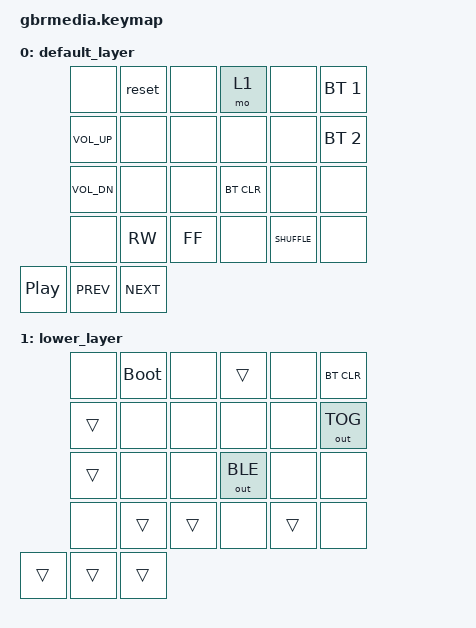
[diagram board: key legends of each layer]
/*
 * Copyright (c) 2020 The ZMK Contributors
 *
 * SPDX-License-Identifier: MIT
 */

#include <behaviors.dtsi>
#include <dt-bindings/zmk/keys.h>
#include <dt-bindings/zmk/bt.h>
#include <dt-bindings/zmk/outputs.h>

#define DEFAULT 0
#define LOWER 	1

/ {	
	keymap {
		compatible = "zmk,keymap";
		
		default_layer {
			bindings = <
                                &none      		&reset    		&none      		&mo 1      		&none      		&bt BT_SEL 1
				                &kp C_VOL_UP    &none       	&none       	&none       	&none       	&bt BT_SEL 2
                                &kp C_VOL_DN    &none       	&none       	&bt BT_CLR    	&none    		&none
                                &none 			&kp C_RW      	&kp C_FF   		&none     		&kp C_SHUFFLE	&none
            	&kp C_PP		&kp C_PREV 		&kp C_NEXT 				
			>;

		};

		 lower_layer {
			bindings = <
								&none      		&bootloader    	&none      		&trans      	&none      		&bt BT_CLR
				                &trans       	&none       	&none       	&none       	&none       	&out OUT_TOG
                                &trans      	&none       	&none       	&out OUT_BLE   	&none    		&none
                                &none 			&trans      	&trans   		&none     		&trans    		&none
            	&trans 			&trans    		&trans
			 >;
	
		 };
	};
};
